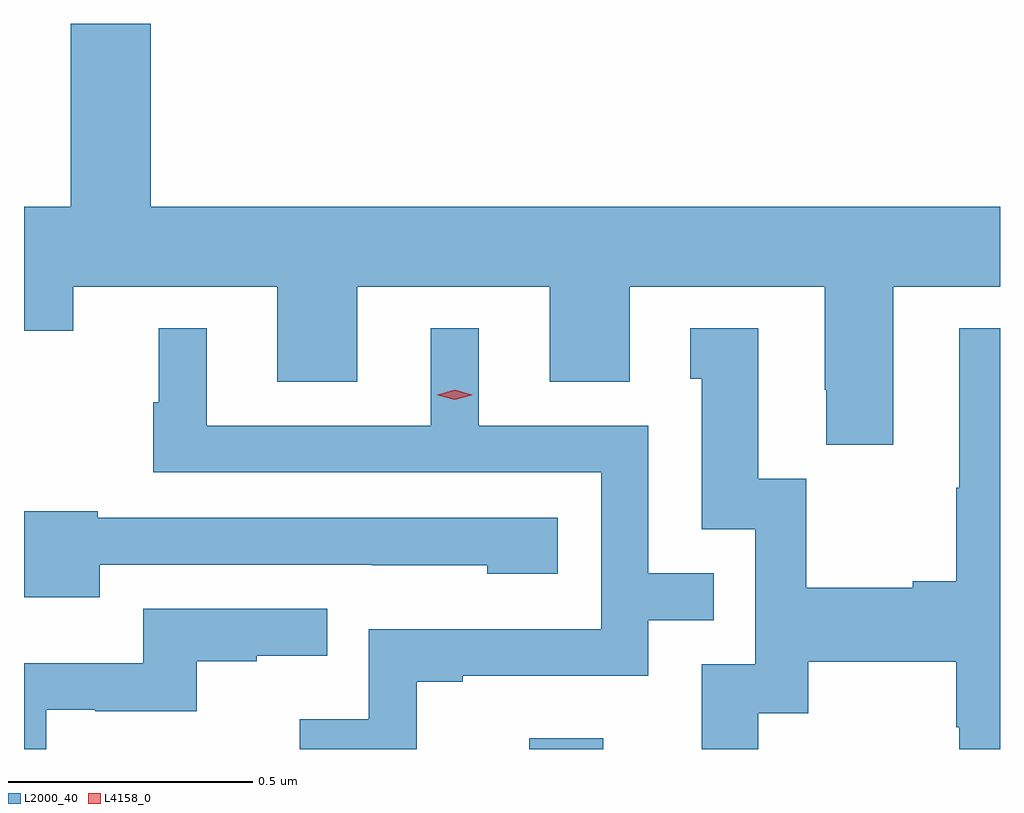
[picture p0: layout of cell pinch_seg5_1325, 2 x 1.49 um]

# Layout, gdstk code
import gdstk
lib = gdstk.Library(unit=1e-6, precision=1e-09)
def R(c, l, rs):  # rectangles x0, y0, x1, y1
    for r in rs: c.add(gdstk.rectangle(r[:2], r[2:], *l))
def P(c, l, *ps):  # polygons
    for p in ps: c.add(gdstk.Polygon(p, *l))
L2000_40 = (2000, 40)
L4158_0 = (4158, 0)

pinch_seg5_1325 = lib.new_cell('pinch_seg5_1325')
R(pinch_seg5_1325, L2000_40, [(429.683,841.161,429.835,841.183)])
P(pinch_seg5_1325, L2000_40, [(430.429,842.108),(430.648,842.108),(430.648,842.272),(428.908,842.272),(428.908,842.647),(428.744,842.647),(428.744,842.272),(428.648,842.272),(428.648,842.018),(428.749,842.018),(428.749,842.108),(429.167,842.108),(429.167,841.914),(429.331,841.914),(429.331,842.108),(429.725,842.108),(429.725,841.914),(429.889,841.914),(429.889,842.108),(430.289,842.108),(430.289,841.897),(430.292,841.897),(430.292,841.785),(430.429,841.785)],
  [(430.153,841.234),(430.255,841.234),(430.255,841.34),(430.558,841.34),(430.558,841.206),(430.565,841.206),(430.565,841.161),(430.648,841.161),(430.648,842.023),(430.565,842.023),(430.565,841.697),(430.558,841.697),(430.558,841.505),(430.469,841.505),(430.469,841.492),(430.251,841.492),(430.251,841.715),(430.153,841.715),(430.153,842.023),(430.013,842.023),(430.013,841.92),(430.037,841.92),(430.037,841.611),(430.146,841.611),(430.146,841.335),(430.037,841.335),(430.037,841.161),(430.153,841.161)],
  [(429.453,841.299),(429.547,841.299),(429.547,841.311),(429.927,841.311),(429.927,841.425),(430.061,841.425),(430.061,841.521),(429.927,841.521),(429.927,841.824),(429.58,841.824),(429.58,842.023),(429.482,842.023),(429.482,841.824),(429.022,841.824),(429.022,842.023),(428.924,842.023),(428.924,841.872),(428.913,841.872),(428.913,841.728),(429.831,841.728),(429.831,841.407),(429.354,841.407),(429.354,841.222),(429.213,841.222),(429.213,841.161),(429.453,841.161)],
  [(428.803,841.539),(429.361,841.539),(429.361,841.538),(429.597,841.538),(429.597,841.52),(429.742,841.52),(429.742,841.635),(428.799,841.635),(428.799,841.648),(428.648,841.648),(428.648,841.472),(428.803,841.472)],
  [(428.694,841.242),(428.794,841.242),(428.794,841.239),(429.002,841.239),(429.002,841.341),(429.125,841.341),(429.125,841.352),(429.269,841.352),(429.269,841.449),(428.892,841.449),(428.892,841.337),(428.648,841.337),(428.648,841.161),(428.694,841.161)])
P(pinch_seg5_1325, L4158_0, [(429.531,841.877),(429.496,841.886),(429.495,841.887),(429.496,841.887),(429.531,841.897),(429.566,841.887),(429.567,841.887),(429.566,841.886)])

lib.write_gds('pinch_seg5_1325.gds')
